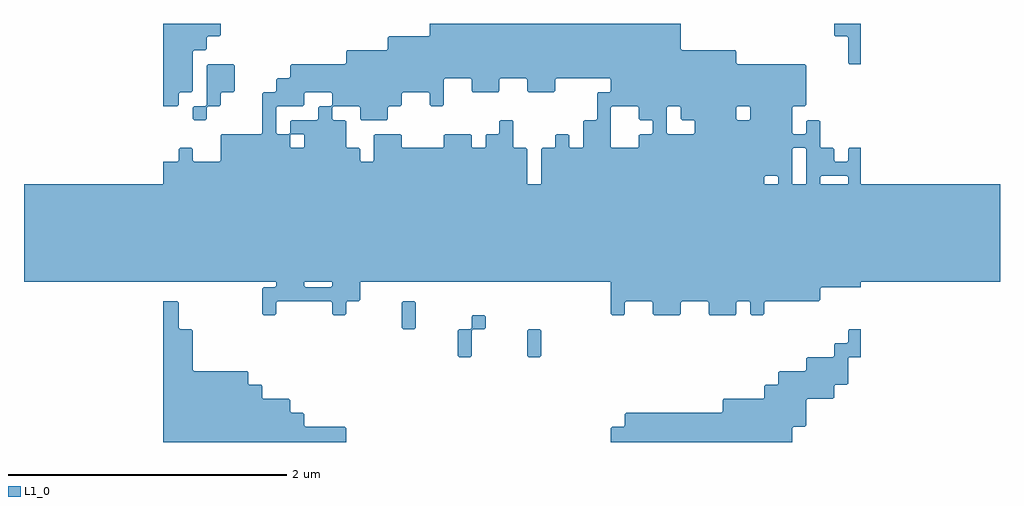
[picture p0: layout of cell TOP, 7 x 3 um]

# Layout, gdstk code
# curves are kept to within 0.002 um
import gdstk
lib = gdstk.Library(unit=1e-6, precision=1e-09)
def P(c, l, *ps):  # polygons
    for p in ps: c.add(gdstk.Polygon(p, *l))
L1_0 = (1, 0)

top = lib.new_cell('TOP')
P(top, L1_0, [(2.42,1.21),(2.41,1.22),(2.41,1.4),(2.4,1.41),(2.32,1.41),(2.31,1.42),(2.31,1.5),(2.5,1.5),(2.5,1.21)],
  [(-2.5,0.91),(-2.5,1.5),(-2.09,1.5),(-2.09,1.42),(-2.1,1.41),(-2.18,1.41),(-2.19,1.4),(-2.19,1.32),(-2.2,1.31),(-2.28,1.31),(-2.29,1.3),(-2.29,1.02),(-2.3,1.01),(-2.38,1.01),(-2.39,1),(-2.39,0.92),(-2.4,0.91)],
  [(-2.28,0.81),(-2.29,0.82),(-2.29,0.9),(-2.28,0.91),(-2.2,0.91),(-2.19,0.92),(-2.19,1.2),(-2.18,1.21),(-2,1.21),(-1.99,1.2),(-1.99,1.02),(-2,1.01),(-2.08,1.01),(-2.09,1),(-2.09,0.92),(-2.1,0.91),(-2.18,0.91),(-2.19,0.9),(-2.19,0.82),(-2.2,0.81)],
  [(-2.5,-1.5),(-2.5,-0.49),(-2.4,-0.49),(-2.39,-0.5),(-2.39,-0.68),(-2.38,-0.69),(-2.3,-0.69),(-2.29,-0.7),(-2.29,-0.98),(-2.28,-0.99),(-1.9,-0.99),(-1.89,-1),(-1.89,-1.08),(-1.88,-1.09),(-1.8,-1.09),(-1.79,-1.1),(-1.79,-1.18),(-1.78,-1.19),(-1.6,-1.19),(-1.59,-1.2),(-1.59,-1.28),(-1.58,-1.29),(-1.5,-1.29),(-1.49,-1.3),(-1.49,-1.38),(-1.48,-1.39),(-1.2,-1.39),(-1.19,-1.4),(-1.19,-1.5)],
  [(-0.38,-0.89),(-0.39,-0.88),(-0.39,-0.7),(-0.38,-0.69),(-0.3,-0.69),(-0.29,-0.68),(-0.29,-0.6),(-0.28,-0.59),(-0.2,-0.59),(-0.19,-0.6),(-0.19,-0.68),(-0.2,-0.69),(-0.28,-0.69),(-0.29,-0.7),(-0.29,-0.88),(-0.3,-0.89)],
  [(0.71,-1.5),(0.71,-1.4),(0.72,-1.39),(0.8,-1.39),(0.81,-1.38),(0.81,-1.3),(0.82,-1.29),(1.5,-1.29),(1.51,-1.28),(1.51,-1.2),(1.52,-1.19),(1.8,-1.19),(1.81,-1.18),(1.81,-1.1),(1.82,-1.09),(1.9,-1.09),(1.91,-1.08),(1.91,-1),(1.92,-0.99),(2.1,-0.99),(2.11,-0.98),(2.11,-0.9),(2.12,-0.89),(2.3,-0.89),(2.31,-0.88),(2.31,-0.8),(2.32,-0.79),(2.4,-0.79),(2.41,-0.78),(2.41,-0.7),(2.42,-0.69),(2.5,-0.69),(2.5,-0.89),(2.42,-0.89),(2.41,-0.9),(2.41,-1.08),(2.4,-1.09),(2.32,-1.09),(2.31,-1.1),(2.31,-1.18),(2.3,-1.19),(2.12,-1.19),(2.11,-1.2),(2.11,-1.38),(2.1,-1.39),(2.02,-1.39),(2.01,-1.4),(2.01,-1.5)],
  [(0.12,-0.89),(0.11,-0.88),(0.11,-0.7),(0.12,-0.69),(0.2,-0.69),(0.21,-0.7),(0.21,-0.88),(0.2,-0.89)],
  [(-1.78,-0.59),(-1.79,-0.58),(-1.79,-0.4),(-1.78,-0.39),(-1.7,-0.39),(-1.69,-0.38),(-1.49,-0.38),(-1.48,-0.39),(-1.3,-0.39),(-1.29,-0.38),(-1.29,-0.35),(-1.49,-0.35),(-1.49,-0.38),(-1.69,-0.38),(-1.69,-0.35),(-3.5,-0.35),(-3.5,0.35),(-2.5,0.35),(-2.5,0.51),(-2.4,0.51),(-2.39,0.52),(-2.39,0.6),(-2.38,0.61),(-2.3,0.61),(-2.29,0.6),(-2.29,0.52),(-2.28,0.51),(-2.1,0.51),(-2.09,0.52),(-2.09,0.62),(-1.59,0.62),(-1.58,0.61),(-1.5,0.61),(-1.49,0.62),(-1.49,0.7),(-1.5,0.71),(-1.58,0.71),(-1.59,0.7),(-1.59,0.62),(-2.09,0.62),(-2.09,0.7),(-2.08,0.71),(-1.8,0.71),(-1.79,0.72),(-1.69,0.72),(-1.68,0.71),(-1.6,0.71),(-1.59,0.72),(-1.59,0.8),(-1.58,0.81),(-1.4,0.81),(-1.39,0.82),(-1.39,0.9),(-1.38,0.91),(-1.3,0.91),(-1.29,0.92),(-1.29,1),(-1.3,1.01),(-1.48,1.01),(-1.49,1),(-1.49,0.92),(-1.5,0.91),(-1.68,0.91),(-1.69,0.9),(-1.69,0.72),(-1.79,0.72),(-1.79,1),(-1.78,1.01),(-1.7,1.01),(-1.69,1.02),(-1.69,1.1),(-1.68,1.11),(-1.6,1.11),(-1.59,1.12),(-1.59,1.2),(-1.58,1.21),(-1.2,1.21),(-1.19,1.22),(-1.19,1.3),(-1.18,1.31),(-0.9,1.31),(-0.89,1.32),(-0.89,1.4),(-0.88,1.41),(-0.6,1.41),(-0.59,1.42),(-0.59,1.5),(0.1,1.5),(0.1,1.11),(-0.08,1.11),(-0.09,1.1),(-0.09,1.02),(-0.1,1.01),(-0.28,1.01),(-0.29,1.02),(-0.29,1.1),(-0.3,1.11),(-0.48,1.11),(-0.49,1.1),(-0.49,0.92),(-0.5,0.91),(-0.58,0.91),(-0.59,0.92),(-0.59,1),(-0.6,1.01),(-0.78,1.01),(-0.79,1),(-0.79,0.92),(-0.8,0.91),(-0.88,0.91),(-0.89,0.9),(-0.89,0.82),(-0.9,0.81),(-1.08,0.81),(-1.09,0.82),(-1.09,0.9),(-1.1,0.91),(-1.28,0.91),(-1.29,0.9),(-1.29,0.82),(-1.28,0.81),(-1.2,0.81),(-1.19,0.8),(-1.19,0.62),(-1.18,0.61),(-1.1,0.61),(-1.09,0.6),(-1.09,0.52),(-1.08,0.51),(-1,0.51),(-0.99,0.52),(-0.99,0.7),(-0.98,0.71),(-0.8,0.71),(-0.79,0.7),(-0.79,0.62),(-0.78,0.61),(-0.5,0.61),(-0.49,0.62),(-0.49,0.7),(-0.48,0.71),(-0.3,0.71),(-0.29,0.7),(-0.29,0.62),(-0.28,0.61),(-0.2,0.61),(-0.19,0.62),(-0.19,0.7),(-0.18,0.71),(-0.1,0.71),(-0.09,0.72),(-0.09,0.8),(-0.08,0.81),(0,0.81),(0.01,0.8),(0.01,0.62),(0.02,0.61),(0.1,0.61),(0.1,-0.35),(-1.09,-0.35),(-1.09,-0.48),(-1.1,-0.49),(-1.18,-0.49),(-1.19,-0.5),(-1.19,-0.58),(-1.2,-0.59),(-1.28,-0.59),(-1.29,-0.58),(-1.29,-0.5),(-1.3,-0.49),(-1.68,-0.49),(-1.69,-0.5),(-1.69,-0.58),(-1.7,-0.59)],
  [(0.72,-0.59),(0.71,-0.58),(0.71,-0.35),(0.1,-0.35),(0.1,0.61),(0.11,0.6),(0.11,0.35),(2.41,0.35),(2.41,0.4),(2.4,0.41),(2.22,0.41),(2.21,0.4),(2.21,0.35),(2.11,0.35),(2.11,0.6),(2.1,0.61),(2.02,0.61),(2.01,0.6),(2.01,0.35),(1.91,0.35),(1.91,0.4),(1.9,0.41),(1.82,0.41),(1.81,0.4),(1.81,0.35),(0.21,0.35),(0.21,0.6),(0.22,0.61),(0.3,0.61),(0.31,0.62),(0.31,0.7),(0.32,0.71),(0.4,0.71),(0.41,0.7),(0.41,0.62),(0.42,0.61),(0.5,0.61),(0.51,0.62),(0.71,0.62),(0.72,0.61),(0.9,0.61),(0.91,0.62),(0.91,0.7),(0.92,0.71),(1,0.71),(1.01,0.72),(1.11,0.72),(1.12,0.71),(1.3,0.71),(1.31,0.72),(1.31,0.8),(1.3,0.81),(1.22,0.81),(1.21,0.82),(1.61,0.82),(1.62,0.81),(1.7,0.81),(1.71,0.82),(1.71,0.9),(1.7,0.91),(1.62,0.91),(1.61,0.9),(1.61,0.82),(1.21,0.82),(1.21,0.9),(1.2,0.91),(1.12,0.91),(1.11,0.9),(1.11,0.72),(1.01,0.72),(1.01,0.8),(1,0.81),(0.92,0.81),(0.91,0.82),(0.91,0.9),(0.9,0.91),(0.72,0.91),(0.71,0.9),(0.71,0.62),(0.51,0.62),(0.51,0.8),(0.52,0.81),(0.6,0.81),(0.61,0.82),(0.61,1),(0.62,1.01),(0.7,1.01),(0.71,1.02),(0.71,1.1),(0.7,1.11),(0.32,1.11),(0.31,1.1),(0.31,1.02),(0.3,1.01),(0.12,1.01),(0.11,1.02),(0.11,1.1),(0.1,1.11),(0.1,1.5),(1.21,1.5),(1.21,1.32),(1.22,1.31),(1.6,1.31),(1.61,1.3),(1.61,1.22),(1.62,1.21),(2.1,1.21),(2.11,1.2),(2.11,0.92),(2.1,0.91),(2.02,0.91),(2.01,0.9),(2.01,0.72),(2.02,0.71),(2.1,0.71),(2.11,0.72),(2.11,0.8),(2.12,0.81),(2.2,0.81),(2.21,0.8),(2.21,0.62),(2.22,0.61),(2.3,0.61),(2.31,0.6),(2.31,0.52),(2.32,0.51),(2.4,0.51),(2.41,0.52),(2.41,0.6),(2.42,0.61),(2.5,0.61),(2.5,0.35),(3.5,0.35),(3.5,-0.35),(2.5,-0.35),(2.5,-0.39),(2.22,-0.39),(2.21,-0.4),(2.21,-0.48),(2.2,-0.49),(1.82,-0.49),(1.81,-0.5),(1.81,-0.58),(1.8,-0.59),(1.72,-0.59),(1.71,-0.58),(1.71,-0.5),(1.7,-0.49),(1.62,-0.49),(1.61,-0.5),(1.61,-0.58),(1.6,-0.59),(1.42,-0.59),(1.41,-0.58),(1.41,-0.5),(1.4,-0.49),(1.22,-0.49),(1.21,-0.5),(1.21,-0.58),(1.2,-0.59),(1.02,-0.59),(1.01,-0.58),(1.01,-0.5),(1,-0.49),(0.82,-0.49),(0.81,-0.5),(0.81,-0.58),(0.8,-0.59)],
  [(-0.78,-0.69),(-0.79,-0.68),(-0.79,-0.5),(-0.78,-0.49),(-0.7,-0.49),(-0.69,-0.5),(-0.69,-0.68),(-0.7,-0.69)])

lib.write_gds('TOP.gds')
